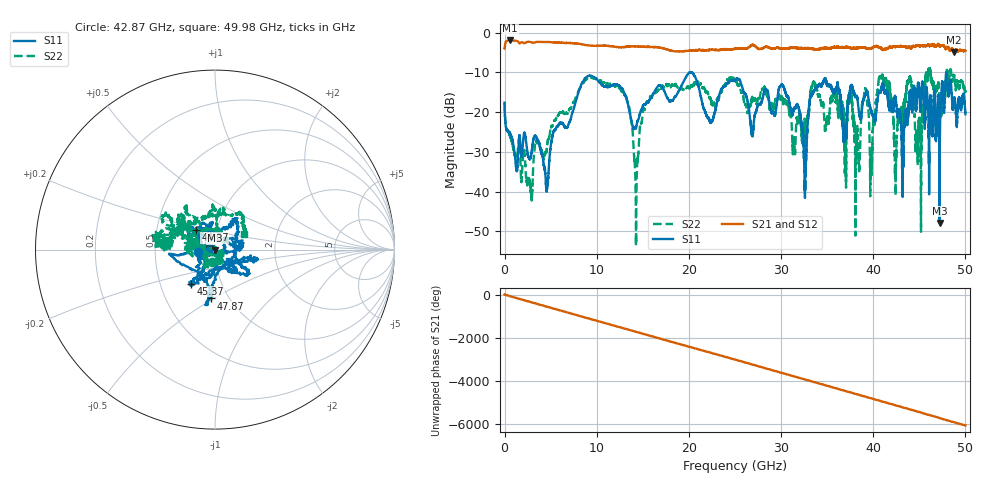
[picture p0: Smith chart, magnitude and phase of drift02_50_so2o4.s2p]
!Created with skrf (http://scikit-rf.org).
# Hz S RI R 50.0
!freq ReS11 ImS11 ReS21 ImS21 ReS12 ImS12 ReS22 ImS22
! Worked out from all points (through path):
!   10001 points, 300 kHz to 50 GHz, reference 50 ohm
!   highest |S21| = -2.00 dB at 600.3 MHz (marker M1); lowest = -4.9 dB at 48.77 GHz (marker M2)
!   group delay of S21, straight-line fit = 337 ps
!   lowest |S11| = -47.9 dB at 47.2 GHz (marker M3), VSWR 1.01, Z = 49.8 - j0.319 ohm
!   |S11| at or under -10 dB: start of sweep to 20.07 GHz; 20.20933 GHz to 20.22074 GHz (11.41 MHz wide, 0.0564 % of centre); 20.24 GHz to end of sweep (the widest 3 of 5)
!   |S22| runs from -53.7 to -8.9 dB; largest |S21 - S12| = 0.03
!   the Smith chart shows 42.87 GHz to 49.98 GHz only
!   S11 on the Smith chart (normalised r, x): 42.87 GHz: 0.83, -0.02; 44.07 GHz: 0.79, +0.18; 45.37 GHz: 0.71, -0.29; 47.87 GHz: 0.82, -0.48; 49.98 GHz: 1.16, -0.15
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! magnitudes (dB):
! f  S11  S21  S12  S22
! 300 kHz  -17.6  -4.0  -4.0  -17.6
! 600.3 MHz  -25.4  -2.0  -2.0  -26.2
! 4.565 GHz  -39.9  -2.4  -2.4  -29.4
! 8.335 GHz  -13.0  -2.9  -2.9  -13.2
! 13.01 GHz  -15.3  -3.6  -3.6  -15.7
! 14.28 GHz  -23.8  -3.5  -3.5  -49.6
! 16.67 GHz  -13.3  -3.7  -3.7  -14.5
! 25 GHz  -12.1  -4.1  -4.1  -12.2
! 26.86 GHz  -25.7  -3.1  -3.1  -16.5
! 30.18 GHz  -13.3  -4.1  -4.1  -16.8
! 32.58 GHz  -39.0  -3.9  -3.9  -25.0
! 33.34 GHz  -15.9  -4.0  -4.1  -13.5
! 38.28 GHz  -16.8  -4.0  -3.9  -24.6
! 41.67 GHz  -18.3  -3.8  -3.9  -12.6
! 42.87 GHz  -20.3  -3.5  -3.5  -22.7
! 44.07 GHz  -16.2  -4.0  -4.0  -11.7
! 45.37 GHz  -12.7  -3.3  -3.3  -19.8
! 47.2 GHz  -47.9  -3.5  -3.4  -16.4
! 47.87 GHz  -11.3  -4.0  -4.1  -12.8
! 48.77 GHz  -17.0  -4.9  -4.8  -10.8
! 49.98 GHz  -19.8  -4.6  -4.6  -14.8
! 50 GHz  -20.5  -4.6  -4.6  -15.2
